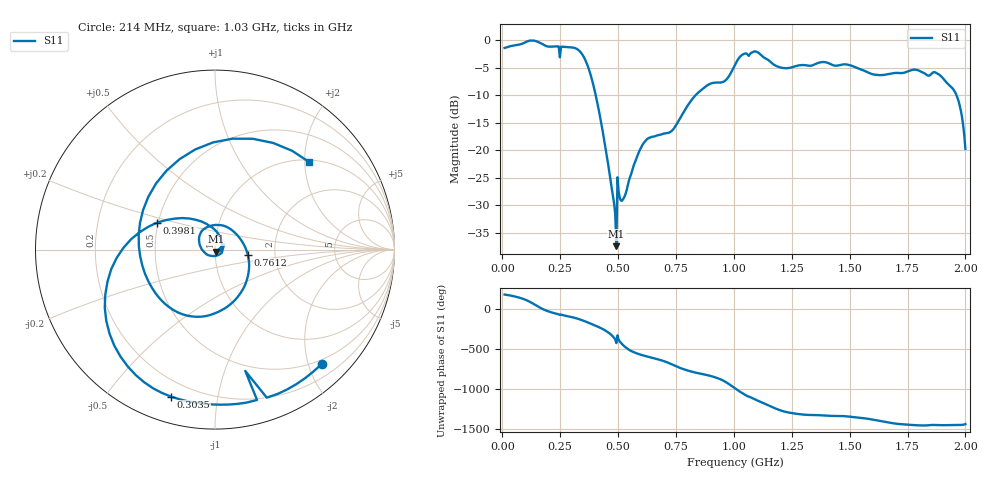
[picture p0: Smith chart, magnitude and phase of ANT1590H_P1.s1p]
!Created with skrf (http://scikit-rf.org).
# Hz S RI R 50.0
!freq ReS11 ImS11
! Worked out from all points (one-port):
!   401 points, 10 MHz to 2 GHz, reference 50 ohm
!   lowest |S11| = -37.4 dB at 492.6 MHz (marker M1), VSWR 1.03, Z = 50.5 - j1.25 ohm
!   |S11| at or under -10 dB: 403.4 MHz to 835.1 MHz (431.7 MHz wide, 69.7 % of centre); 1.961 GHz to end of sweep
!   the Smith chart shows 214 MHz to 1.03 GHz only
!   S11 on the Smith chart (normalised r, x): 214 MHz: 0.42, -2.23; 303.5 MHz: 0.12, -0.74; 398.1 MHz: 0.49, +0.17; 761.2 MHz: 1.44, -0.08; 1.03 GHz: 1.05, +2.11
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1e7  -0.8458 0.0612
7.4675e7  -0.6578 0.6297
1.1945e8  0.0862 0.9846
1.5925e8  0.9002 0.3088
2.13975e8  0.5946 -0.6374
2.5875e8  0.1758 -0.8524
3.03525e8  -0.2442 -0.8194
3.53275e8  -0.6142 -0.3236
3.9805e8  -0.3214 0.1507
4.42825e8  -0.00412 0.1137
4.82625e8  0.0331 -0.000818
4.92575e8  0.00526 -0.0124
5.075e8  0.0248 -0.0271
6.1695e8  -0.0818 0.0887
7.5625e8  0.1765 -0.00809
7.61225e8  0.182 -0.0273
9.055e8  -0.2054 -0.3507
9.70175e8  -0.4179 0.1487
1.005e9  -0.0114 0.5971
1.029875e9  0.5257 0.4874
1.069675e9  0.7139 -0.2152
1.11445e9  0.1685 -0.7221
1.17415e9  -0.5278 -0.2753
1.25375e9  -0.4477 0.3508
1.5025e9  -0.0851 0.5839
1.75125e9  0.5194 -0.00384
1.9403e9  0.3722 -0.0297
2e9  0.1023 0.0127
